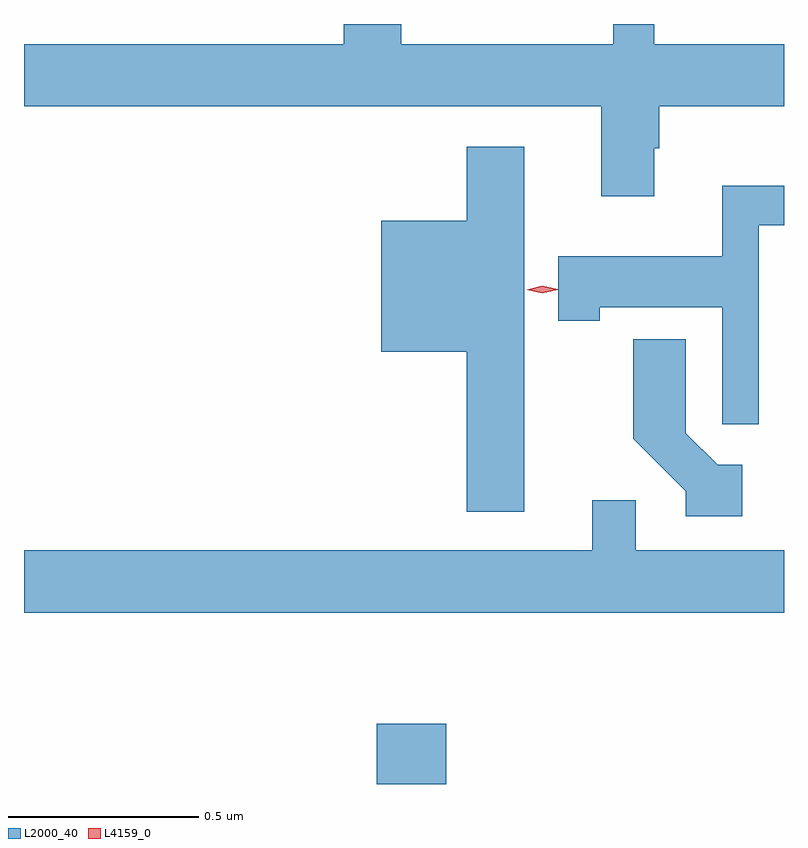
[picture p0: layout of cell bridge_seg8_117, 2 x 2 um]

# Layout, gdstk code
import gdstk
lib = gdstk.Library(unit=1e-6, precision=1e-09)
def R(c, l, rs):  # rectangles x0, y0, x1, y1
    for r in rs: c.add(gdstk.rectangle(r[:2], r[2:], *l))
def P(c, l, *ps):  # polygons
    for p in ps: c.add(gdstk.Polygon(p, *l))
L2000_40 = (2000, 40)
L4159_0 = (4159, 0)

bridge_seg8_117 = lib.new_cell('bridge_seg8_117')
R(bridge_seg8_117, L2000_40, [(814.682,1129.369,814.865,1129.528)])
P(bridge_seg8_117, L2000_40, [(815.413,1131.042),(815.426,1131.042),(815.426,1131.152),(815.754,1131.152),(815.754,1131.316),(815.413,1131.316),(815.413,1131.369),(815.304,1131.369),(815.304,1131.316),(814.747,1131.316),(814.747,1131.369),(814.595,1131.369),(814.595,1131.316),(813.754,1131.316),(813.754,1131.152),(815.273,1131.152),(815.273,1130.916),(815.413,1130.916)],
  [(815.071,1131.046),(814.919,1131.046),(814.919,1130.851),(814.694,1130.851),(814.694,1130.507),(814.919,1130.507),(814.919,1130.085),(815.071,1130.085)],
  [(815.688,1130.84),(815.754,1130.84),(815.754,1130.944),(815.591,1130.944),(815.591,1130.758),(815.16,1130.758),(815.16,1130.588),(815.269,1130.588),(815.269,1130.624),(815.592,1130.624),(815.592,1130.316),(815.688,1130.316)],
  [(815.644,1130.209),(815.579,1130.209),(815.496,1130.292),(815.496,1130.539),(815.357,1130.539),(815.357,1130.278),(815.496,1130.139),(815.496,1130.073),(815.644,1130.073)],
  [(815.754,1129.984),(815.364,1129.984),(815.364,1130.116),(815.249,1130.116),(815.249,1129.984),(813.754,1129.984),(813.754,1129.82),(815.754,1129.82)])
P(bridge_seg8_117, L4159_0, [(815.118,1130.66),(815.077,1130.67),(815.077,1130.67),(815.077,1130.67),(815.118,1130.68),(815.159,1130.671),(815.159,1130.671),(815.159,1130.67)])

lib.write_gds('bridge_seg8_117.gds')
